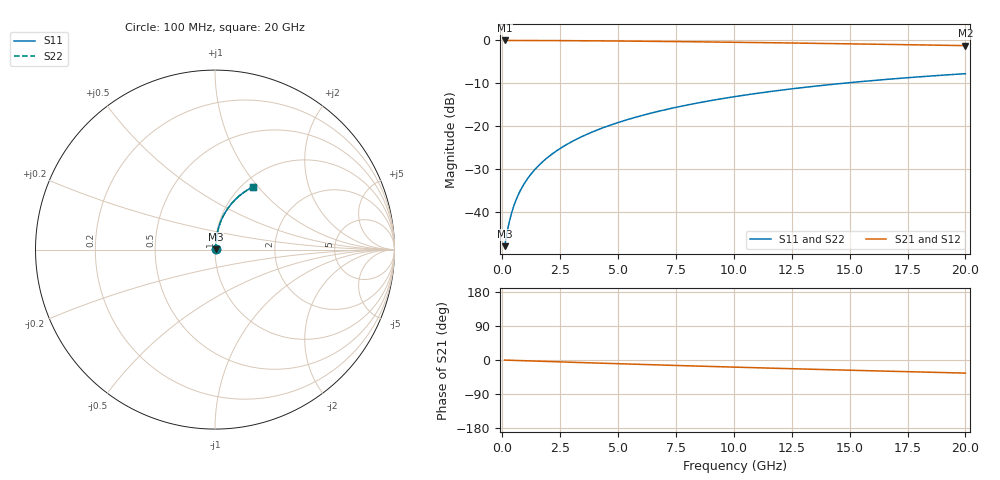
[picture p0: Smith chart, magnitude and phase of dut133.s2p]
! Touchstone file exported from HFSS 2024.1.0
!  File:  C:/UserFiles/LocalFiles/RDL_TSV_Batchsim/temp_RDL_top_133_1778684426.aedt
!  Generated:  11:03:00 PM May 13, 2026
!  Design:  RDL_top
!  Project:  temp_RDL_top_133_1778684426
!  Setup:  Setup1
!  Solution:  Sweep
! Variables:
!  dtsv = 10.80580581um
!  hbump = 3um
!  htsv = 64.58um
!  ldown = 100um
!  lrdl = 397.6um
!  p = 40
!  p1 = 59.45um
!  rhole = 1um
!  t = 450um
!  tdown = 3.915915916um
!  trdl = 2.91um
!  wdown = 15.38538539um
!  wrdl = 15.87um
# GHz S MA R 50.000000
! Terminal data exported
! Port[1] = Box2_T1
! Port[2] = Box2_T2
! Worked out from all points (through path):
!   200 points, 100 MHz to 20 GHz, reference 50 ohm
!   highest |S21| = -0.03 dB at 100 MHz (marker M1); lowest = -1.2 dB at 20 GHz (marker M2)
!   group delay of S21, straight-line fit = 4.78 ps
!   lowest |S11| = -48.1 dB at 100 MHz (marker M3), VSWR 1.01, Z = 50.3 + j0.229 ohm
!   |S11| at or under -10 dB: start of sweep to 14.78 GHz
!   |S22| runs from -48.1 to -7.8 dB; largest |S21 - S12| = 2.5e-15
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0.1  0.003949 35.1  0.9968 -0.2  0.9968 -0.2  0.003949 35.1
! Gamma 0 0 0 0
! Port Impedance 50 0 50 0
0.2  0.005598 54.0  0.9967 -0.4  0.9967 -0.4  0.005598 54.0
0.3  0.007557 63.4  0.9966 -0.6  0.9966 -0.6  0.007557 63.4
0.4  0.009618 68.7  0.9965 -0.8  0.9965 -0.8  0.009618 68.7
0.5  0.01171 72.1  0.9963 -1.0  0.9963 -1.0  0.01171 72.1
0.6  0.01382 74.4  0.9962 -1.2  0.9962 -1.2  0.01382 74.4
0.8  0.01805 77.3  0.9959 -1.6  0.9959 -1.6  0.01805 77.3
1.1  0.02443 79.8  0.9955 -2.2  0.9955 -2.2  0.02443 79.8
1.5  0.033 81.5  0.9948 -3.0  0.9948 -3.0  0.033 81.5
1.8  0.03946 82.2  0.9942 -3.6  0.9942 -3.6  0.03946 82.2
2.1  0.04595 82.6  0.9934 -4.2  0.9934 -4.2  0.04595 82.6
2.7  0.059 82.9  0.9917 -5.4  0.9917 -5.4  0.059 82.9
3.5  0.07652 82.6  0.9889 -6.9  0.9889 -6.9  0.07652 82.6
4.2  0.09195 82.1  0.9859 -8.3  0.9859 -8.3  0.09195 82.1
5  0.1097 81.4  0.982 -9.8  0.982 -9.8  0.1097 81.4
5.9  0.1296 80.3  0.9772 -11.5  0.9772 -11.5  0.1296 80.3
6.8  0.1496 79.1  0.9718 -13.2  0.9718 -13.2  0.1496 79.1
8.4  0.1848 76.8  0.9614 -16.0  0.9614 -16.0  0.1848 76.8
10.1  0.2215 74.1  0.9493 -19.0  0.9493 -19.0  0.2215 74.1
13.4  0.2894 68.9  0.9236 -24.5  0.9236 -24.5  0.2895 68.9
16.7  0.3518 63.7  0.8961 -29.7  0.8961 -29.7  0.3519 63.7
20  0.408 58.8  0.8676 -34.5  0.8676 -34.5  0.4081 58.8
